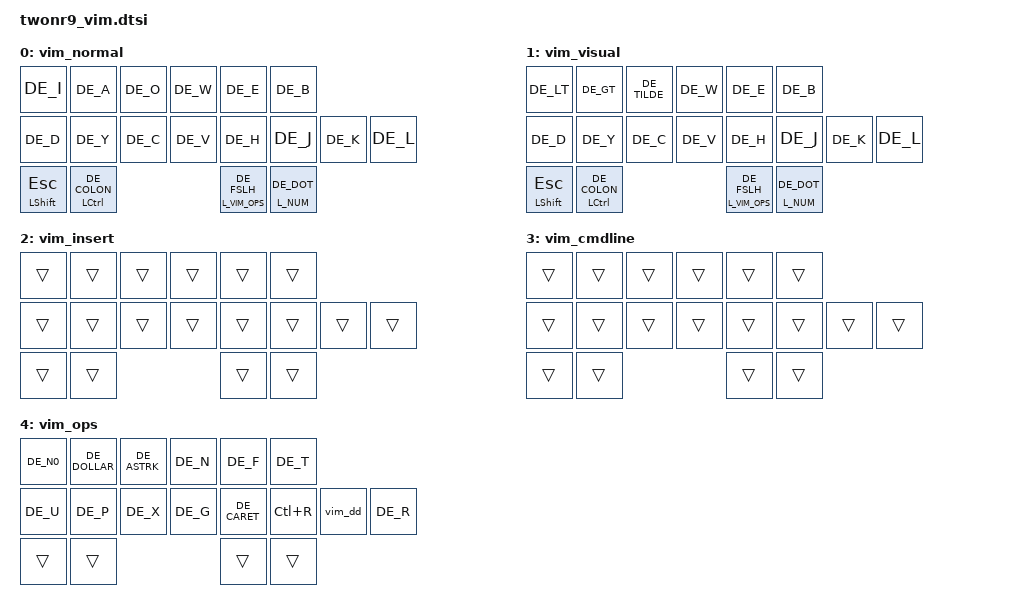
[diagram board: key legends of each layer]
/*
 * Vim layers, driven by zmk-vim-mode.
 *
 * The host daemon writes a small code into three HID LED indicator bits (Compose, Kana,
 * Scroll Lock -- none of which any OS drives on its own); the module decodes it and
 * activates the matching layer set. Code 0 (implicit) turns every managed layer off.
 *
 * normal and visual carry the commands; insert and cmdline stay transparent, so
 * typing there is the base layout untouched.
 *
 * They sit at 7-10, above nav/sym/fn/num/mouse: in normal/visual those layers are
 * deliberately out of reach (hjkl replaces the arrows, the symbol chords replace
 * the sym layer, counts come from the num thumb).
 */
#include <dt-bindings/zmk/hid_usage.h>

/* L_VIM_NORMAL .. L_VIM_CMDLINE live in the keymap with the other layer ids:
 * the combo files are included before this one. */

/ {
    vim_sync {
        compatible = "zmk,hid-indicator-code-listener";
        indicators = <HID_USAGE_LED_COMPOSE HID_USAGE_LED_KANA HID_USAGE_LED_SCROLL_LOCK>;
        managed-layers = <L_VIM_NORMAL L_VIM_VISUAL L_VIM_INSERT L_VIM_CMDLINE>;

        normal        { code = <1>; layers = <L_VIM_NORMAL>; };
        insert        { code = <2>; layers = <L_VIM_INSERT>; };
        visual        { code = <3>; layers = <L_VIM_NORMAL L_VIM_VISUAL>; };
        legacy        { code = <4>; layers = <L_VIM_NORMAL>; bindings = <&kp ESC>; };
        cmdline       { code = <5>; layers = <L_VIM_CMDLINE>; };
        raw           { code = <6>; };
        legacy_silent { code = <7>; layers = <L_VIM_NORMAL>; };
    };
};

/* Bindings run in *position* order, which is what the macro cares about: top row
 * 0-5 (L N D | Y O U), home row 6-13 (S R H T | C E I A), thumbs 14-17. Every key
 * sends the letter the editor reads as a command; DE_Y is the German y (US Z
 * position), so yank really types y on a German layout. */
ZMK_LAYER(vim_normal,
    &kp DE_I    &kp DE_A    &kp DE_O      &kp DE_W    &kp DE_E    &kp DE_B
    &kp DE_D    &kp DE_Y    &kp DE_C      &kp DE_V      &kp DE_H    &kp DE_J    &kp DE_K    &kp DE_L
    &mt LSHFT ESC   &mt LCTRL DE_COLON   &lt L_VIM_OPS DE_FSLH   &lt L_NUM DE_DOT
)

/* Visual is normal with i/a/o replaced: they do nothing while selecting, and
 * indent/toggle-case are what the same fingers reach for. */
ZMK_LAYER(vim_visual,
    &kp DE_LT   &kp DE_GT   &kp DE_TILDE  &kp DE_W    &kp DE_E    &kp DE_B
    &kp DE_D    &kp DE_Y    &kp DE_C      &kp DE_V      &kp DE_H    &kp DE_J    &kp DE_K    &kp DE_L
    &mt LSHFT ESC   &mt LCTRL DE_COLON   &lt L_VIM_OPS DE_FSLH   &lt L_NUM DE_DOT
)

ZMK_LAYER(vim_insert,
    &trans &trans &trans
    &trans &trans &trans &trans
    &trans &trans &trans
    &trans &trans &trans &trans
    &trans &trans &trans &trans
)

ZMK_LAYER(vim_cmdline,
    &trans &trans &trans
    &trans &trans &trans &trans
    &trans &trans &trans
    &trans &trans &trans &trans
    &trans &trans &trans &trans
)

/* Held on the right-inner thumb: the commands the alphabet has no room for.
 * Position order again -- top row 0-5, home row 6-13.
 *
 * yy/cc/gg are not here: pressing the letter twice is the same gesture vim asks
 * for, and the slots are better spent on what cannot be typed otherwise. dd is
 * the exception -- deleting a line is the one double done constantly. redo is
 * LC(R) because no vim key reaches it. Uppercase comes from the Shift thumb, %
 * and the brackets from num and the chords. */
ZMK_MACRO(vim_dd, bindings = <&kp DE_D &kp DE_D>; wait-ms = <0>; tap-ms = <5>;)

ZMK_LAYER(vim_ops,
    &kp DE_N0   &kp DE_DOLLAR &kp DE_ASTRK  &kp DE_N    &kp DE_F    &kp DE_T
    &kp DE_U    &kp DE_P      &kp DE_X      &kp DE_G       &kp DE_CARET &kp LC(R)  &vim_dd    &kp DE_R
    &trans      &trans        &trans        &trans
)
